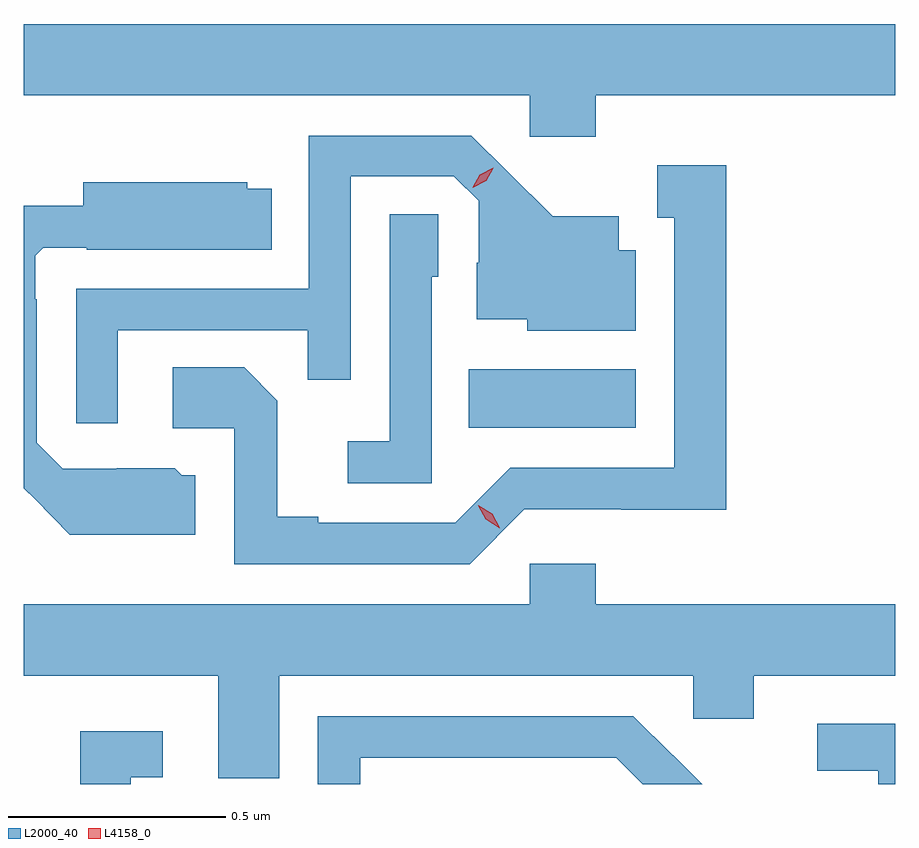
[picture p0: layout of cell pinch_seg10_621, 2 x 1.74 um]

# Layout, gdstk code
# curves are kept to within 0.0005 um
import gdstk
lib = gdstk.Library(unit=1e-6, precision=1e-09)
def R(c, l, rs):  # rectangles x0, y0, x1, y1
    for r in rs: c.add(gdstk.rectangle(r[:2], r[2:], *l))
def P(c, l, *ps):  # polygons
    for p in ps: c.add(gdstk.Polygon(p, *l))
L2000_40 = (2000, 40)
L4158_0 = (4158, 0)

pinch_seg10_621 = lib.new_cell('pinch_seg10_621')
R(pinch_seg10_621, L2000_40, [(354.04,1286.234,354.424,1286.368)])
P(pinch_seg10_621, L2000_40, [(354.332,1286.996),(355.019,1286.996),(355.019,1287.16),(353.019,1287.16),(353.019,1286.996),(354.18,1286.996),(354.18,1286.901),(354.332,1286.901)],
  [(353.235,1286.457),(353.671,1286.457),(353.671,1286.344),(353.769,1286.344),(353.769,1286.811),(354.006,1286.811),(354.063,1286.754),(354.063,1286.612),(354.059,1286.612),(354.059,1286.483),(354.174,1286.483),(354.174,1286.456),(354.424,1286.456),(354.424,1286.641),(354.385,1286.641),(354.385,1286.719),(354.233,1286.719),(354.046,1286.904),(353.673,1286.904),(353.673,1286.553),(353.139,1286.553),(353.139,1286.244),(353.235,1286.244)],
  [(354.168,1286.046),(354.39,1286.046),(354.39,1286.045),(354.631,1286.045),(354.631,1286.836),(354.473,1286.836),(354.473,1286.715),(354.512,1286.715),(354.512,1286.142),(354.135,1286.142),(354.009,1286.016),(353.695,1286.016),(353.695,1286.029),(353.601,1286.029),(353.601,1286.296),(353.525,1286.372),(353.361,1286.372),(353.361,1286.232),(353.502,1286.232),(353.502,1285.92),(354.042,1285.92)],
  [(353.413,1286.124),(353.382,1286.124),(353.366,1286.14),(353.232,1286.14),(353.232,1286.139),(353.109,1286.139),(353.049,1286.199),(353.049,1286.528),(353.046,1286.528),(353.046,1286.628),(353.064,1286.646),(353.164,1286.646),(353.164,1286.642),(353.588,1286.642),(353.588,1286.782),(353.532,1286.782),(353.532,1286.797),(353.156,1286.797),(353.156,1286.743),(353.019,1286.743),(353.019,1286.095),(353.125,1285.988),(353.413,1285.988)],
  [(353.955,1286.58),(353.97,1286.58),(353.97,1286.723),(353.859,1286.723),(353.859,1286.203),(353.763,1286.203),(353.763,1286.106),(353.955,1286.106)],
  [(353.605,1285.664),(354.555,1285.664),(354.555,1285.566),(354.694,1285.566),(354.694,1285.664),(355.019,1285.664),(355.019,1285.828),(354.332,1285.828),(354.332,1285.921),(354.18,1285.921),(354.18,1285.828),(353.019,1285.828),(353.019,1285.664),(353.465,1285.664),(353.465,1285.429),(353.605,1285.429)],
  [(353.791,1285.476),(354.379,1285.476),(354.439,1285.416),(354.576,1285.416),(354.51,1285.482),(354.509,1285.481),(354.418,1285.572),(353.694,1285.572),(353.694,1285.416),(353.791,1285.416)],
  [(355.019,1285.554),(354.84,1285.554),(354.84,1285.446),(354.98,1285.446),(354.98,1285.416),(355.019,1285.416)],
  [(353.265,1285.431),(353.338,1285.431),(353.338,1285.537),(353.149,1285.537),(353.149,1285.416),(353.265,1285.416)])
P(pinch_seg10_621, L4158_0, [(354.111,1286.003),(354.079,1286.023),(354.062,1286.055),(354.062,1286.056),(354.062,1286.056),(354.094,1286.036),(354.111,1286.004),(354.111,1286.003)],
  [(354.049,1286.784),(354.049,1286.785),(354.066,1286.814),(354.097,1286.83),(354.097,1286.83),(354.097,1286.829),(354.08,1286.8),(354.049,1286.784)])

lib.write_gds('pinch_seg10_621.gds')
